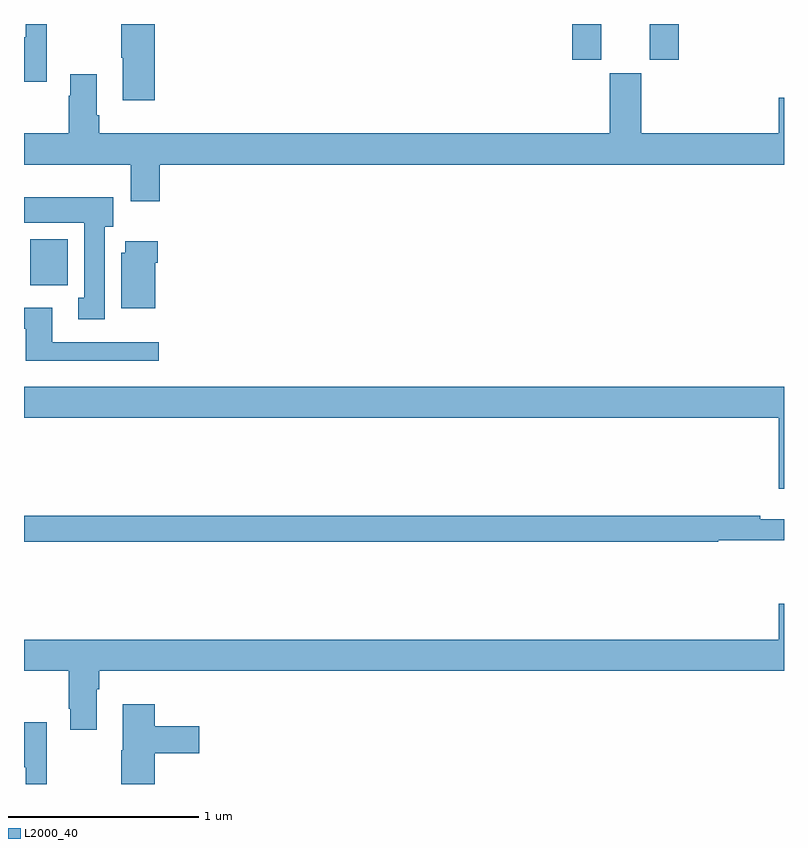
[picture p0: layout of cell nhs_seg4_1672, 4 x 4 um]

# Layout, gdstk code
import gdstk
lib = gdstk.Library(unit=1e-6, precision=1e-09)
def R(c, l, rs):  # rectangles x0, y0, x1, y1
    for r in rs: c.add(gdstk.rectangle(r[:2], r[2:], *l))
def P(c, l, *ps):  # polygons
    for p in ps: c.add(gdstk.Polygon(p, *l))
L2000_40 = (2000, 40)

nhs_seg4_1672 = lib.new_cell('nhs_seg4_1672')
R(nhs_seg4_1672, L2000_40, [(197.033,789.524,197.23,789.766), (199.886,790.713,200.038,790.9), (200.294,790.713,200.447,790.9)])
P(nhs_seg4_1672, L2000_40, [(197.687,790.9),(197.512,790.9),(197.512,790.723),(197.519,790.723),(197.519,790.5),(197.687,790.5)],
  [(197.119,790.9),(197.01,790.9),(197.01,790.831),(197,790.831),(197,790.595),(197.119,790.595)],
  [(197.714,790.16),(201,790.16),(201,790.513),(200.972,790.513),(200.972,790.324),(200.248,790.324),(200.248,790.641),(200.084,790.641),(200.084,790.324),(197.396,790.324),(197.396,790.42),(197.383,790.42),(197.383,790.636),(197.243,790.636),(197.243,790.523),(197.236,790.523),(197.236,790.324),(197,790.324),(197,790.16),(197.561,790.16),(197.561,789.966),(197.714,789.966)],
  [(197.425,789.834),(197.47,789.834),(197.47,789.988),(197.001,789.988),(197.001,789.854),(197.318,789.854),(197.318,789.458),(197.285,789.458),(197.285,789.345),(197.425,789.345)],
  [(197.692,789.644),(197.705,789.644),(197.705,789.757),(197.534,789.757),(197.534,789.696),(197.513,789.696),(197.513,789.404),(197.692,789.404)],
  [(197.71,789.225),(197.149,789.225),(197.149,789.406),(197,789.406),(197,789.297),(197.009,789.297),(197.009,789.128),(197.71,789.128)],
  [(201,788.992),(197,788.992),(197,788.828),(200.972,788.828),(200.972,788.454),(201,788.454)],
  [(200.655,788.184),(201,788.184),(201,788.293),(200.876,788.293),(200.876,788.312),(197,788.312),(197,788.176),(200.655,788.176)],
  [(197.383,787.4),(197.396,787.4),(197.396,787.496),(201,787.496),(201,787.849),(200.972,787.849),(200.972,787.66),(197,787.66),(197,787.496),(197.236,787.496),(197.236,787.297),(197.243,787.297),(197.243,787.185),(197.383,787.185)],
  [(197.687,787.061),(197.923,787.061),(197.923,787.203),(197.687,787.203),(197.687,787.321),(197.519,787.321),(197.519,787.077),(197.512,787.077),(197.512,786.9),(197.687,786.9)],
  [(197.119,787.225),(197,787.225),(197,786.989),(197.01,786.989),(197.01,786.9),(197.119,786.9)])

lib.write_gds('nhs_seg4_1672.gds')
